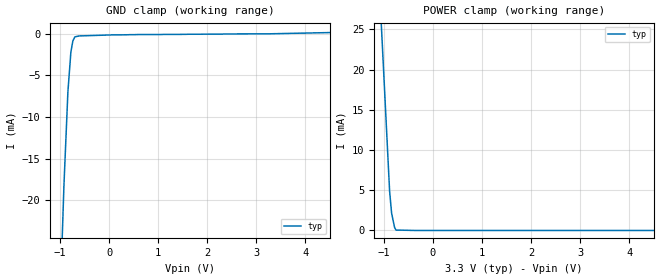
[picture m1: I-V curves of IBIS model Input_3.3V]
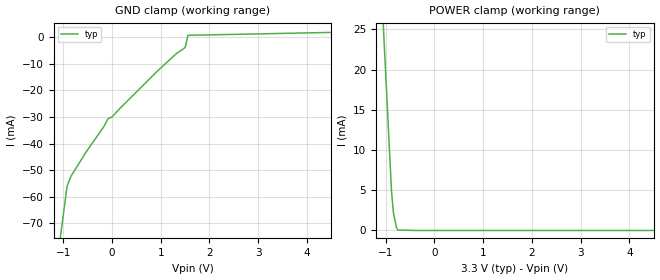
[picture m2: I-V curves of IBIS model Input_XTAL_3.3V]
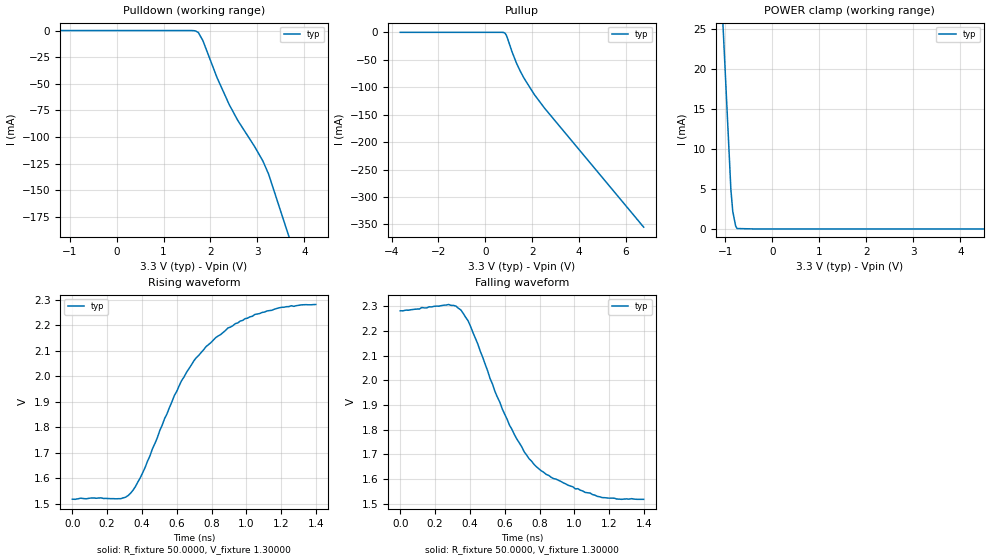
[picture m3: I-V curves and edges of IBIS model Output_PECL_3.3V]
|COPYRIGHT(C) TERASPEED CONSULTING GROUP LLC 2003 ALL
|RIGHTS RESERVED. THIS WORK CONTAINS PROPRIETARY
|INFORMATION WHICH IS THE PROPERTY OF TERASPEED
|CONSULTING GROUP LLC OR ITS LICENSORS. USE OF THESE
|MATERIALS IS SUBJECT TO THE TERMS BELOW.
|USE: TERASPEED HAS LICENSED IBIS MODELS TO
|SPECIFIC INTEGRATED CIRCUIT SUPPLIERS ("IC VENDORS")
|FOR USE AND DISTRIBUTION AS FOLLOWS: EACH IC VENDOR
|MAY USE IBIS MODELS, AND DISTRIBUTE THEM TO IC VENDOR'S
|CUSTOMERS TO USE, SOLELY FOR DEVELOPING PRINTED
|CIRCUIT BOARD DESIGNS. NO OTHER USE OR DISTRIBUTION
|OF THESE MATERIALS IS PERMITTED.
|DISCLAIMER OF WARRANTY:  UNLESS OTHERWISE AGREED
|IN WRITING, TERASPEED SOFTWARE AND ASSOCIATED
|FILES ARE PROVIDED "AS IS" AND WITHOUT WARRANTY.
|TERASPEED HAS NO OBLIGATION TO SUPPORT OR
|OTHERWISE MAINTAIN SOFTWARE.  TERASPEED MAKES
|NO WARRANTIES, EXPRESS OR IMPLIED WITH RESPECT TO
|SOFTWARE INCLUDING ANY WARRANTY OF MERCHANTABILITY
|OR FITNESS FOR A PARTICULAR PURPOSE.
|LIMITATION OF LIABILITY:  TERASPEED IS NOT LIABLE FOR
|ANY PROPERTY DAMAGE, PERSONAL INJURY, LOSS OF PROFITS,
|INTERRUPTION OF BUSINESS, OR FOR ANY OTHER SPECIAL,
|CONSEQUENTIAL OR INCIDENTAL DAMAGES, HOWEVER CAUSED,
|WHETHER FOR BREACH OF WARRANTY, CONTRACT, TORT
|(INCLUDING NEGLIGENCE), STRICT LIABILITY OR OTHERWISE. IN NO
|EVENT SHALL TERASPEED'S LIABILITY EXCEED THE AMOUNT
|PAID FOR THE PRODUCT GIVING RISE TO THE CLAIM.
|TRADEMARKS:  THE FOLLOWING ARE REGISTERED TRADEMARKS
|OR SERVICE MARKS OF TERASPEED CONSULTING GROUP LLC:
|TERASPEED CONSULTING GROUP LLC.
|ALL OTHER BRANDS AND PRODUCT NAMES ARE TRADEMARKS OF
|THEIR RESPECTIVE OWNERS
|COPIES:  ALL COPIES OF SOFTWARE, INCLUDING BUT NOT LIMITED
|TO ANY MODIFICATIONS, ENHANCEMENTS OR DERIVATIVE WORKS
|MUST CONTAIN ALL TERASPEED'S NOTICES AND LEGENDS,
|INCLUDING THOSE EMBEDDED IN SOFTWARE AND THOSE AFFIXED
|TO THE SOFTWARE MEDIUM AND CONTAINER, AS RECEIVED FROM
|TERASPEED.
[IBIS Ver]  3.2
[File Name] nbc12430fn.ibs
[File Rev]  3.0
[Source] Measured and created by Teraspeed Consulting Group LLC
[Date]   09-08-2003
[Notes]  Quality Check of this IBIS model: Model Passes IBIS Check
   Model parses into ICX IS.
[Copyright]
|COPYRIGHT(C) TERASPEED CONSULTING GROUP LLC 2003 ALL
|RIGHTS RESERVED. THIS WORK CONTAINS PROPRIETARY
|INFORMATION WHICH IS THE PROPERTY OF TERASPEED
|CONSULTING GROUP LLC OR ITS LICENSORS. USE OF THESE
|MATERIALS IS SUBJECT TO THE TERMS BELOW.
|USE: TERASPEED HAS LICENSED IBIS MODELS TO
|SPECIFIC INTEGRATED CIRCUIT SUPPLIERS ("IC VENDORS")
|FOR USE AND DISTRIBUTION AS FOLLOWS: EACH IC VENDOR
|MAY USE IBIS MODELS, AND DISTRIBUTE THEM TO IC VENDOR'S
|CUSTOMERS TO USE, SOLELY FOR DEVELOPING PRINTED
|CIRCUIT BOARD DESIGNS. NO OTHER USE OR DISTRIBUTION
|OF THESE MATERIALS IS PERMITTED.
|  Teraspeed Spectrum Model Builder
[Component] NBC12430FN
[Manufacturer] On Semiconductor
[Package]
| variable   typ   min   max
R_pkg  0.083ohms  0.083ohms  0.083ohms
L_pkg  4.299nH   4.299nH   4.299nH
C_pkg  1.045pF   1.045pF   1.045pF
[Pin] signal_name  model_name  R_pin  L_pin C_pin
1   PLL_VCC   POWER   0.08   3.94n   0.925p
2   FREF_EXT   Input_3.3V   0.082  4.14n   0.995p
3   XTAL_SEL   Input_3.3V   0.084  4.354n  1.065p
4   XTAL1   Input_XTAL_3.3V   0.086  4.583n  1.135p
5   XTAL2   Input_XTAL_3.3V   0.086  4.583n  1.135p
6   OE   Input_3.3V   0.084  4.354n  1.065p
7   _P_LOAD   Input_3.3V   0.082  4.14n   0.995p
8   M[0]   Input_3.3V   0.08   3.94n   0.925p
9   M[1]   Input_3.3V   0.082  4.14n   0.995p
10  M[2]   Input_3.3V   0.084  4.354n  1.065p
11  M[3]   Input_3.3V   0.086  4.583n  1.135p
12  M[4]   Input_3.3V   0.086  4.583n  1.135p
13  M[5]   Input_3.3V   0.084  4.354n  1.065p
14  M[6]   Input_3.3V   0.082  4.14n   0.995p
15  M[7]   Input_3.3V   0.08   3.94n   0.925p
16  M[8]   Input_3.3V   0.082  4.14n   0.995p
17  N[0]   Input_3.3V   0.084  4.354n  1.065p
18  N[1]   Input_3.3V   0.086  4.583n  1.135p
19  GND   GND   0.086  4.583n  1.135p
20  TEST   Output_PECL_3.3V   0.084  4.354n  1.065p
21  VCC   POWER   0.082  4.14n   0.995p
22  GND   GND   0.08   3.94n   0.925p
23  _FOUT   Output_PECL_3.3V   0.082  4.14n   0.995p
24  FOUT   Output_PECL_3.3V   0.084  4.354n  1.065p
25  VCC   POWER   0.086  4.583n  1.135p
26  S_CLOCK   Input_3.3V   0.086  4.583n  1.135p
27  S_DATA   Input_3.3V   0.084  4.354n  1.065p
28  S_LOAD   Input_3.3V   0.082  4.14n   0.995p
[Diff Pin] inv_pin vdiff tdelay_typ tdelay_min tdelay_max
24  23   NA  NA  NA  NA|
| Models and submodels in the file (3): Input_3.3V (Input), Input_XTAL_3.3V (Input), Output_PECL_3.3V (Output_ECL)
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[Model] Input_3.3V
Model_type Input
Vinl = 800.000mV
Vinh = 2.00000V
C_comp 1.57000pF NA  NA
| variable typ   min   max
[Voltage Range]   3.30000V  NA  NA
[POWER Clamp Reference]  3.30000V  NA  NA
[GND Clamp Reference]   0.00000V  NA  NA
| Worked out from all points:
|   GND clamp passes 1 mA (typ) near -0.74 V on its own axis
|   POWER clamp passes 1 mA (typ) near -0.80 V on its own axis
[GND Clamp]
-3.3V     -445.1mA   NA         NA
-921.4mV  -18.21mA   NA         NA
-840.7mV  -6.953mA   NA         NA
-780.2mV  -2.192mA   NA         NA
-739.7mV  -841.8uA   NA         NA
-699.3mV  -355.8uA   NA         NA
-611.9mV  -245.5uA   NA         NA
61.63mV   -120.6uA   NA         NA
3.254V    9.637uA    NA         NA
6.6V      415.1uA    NA         NA
[POWER Clamp]
-3.63V    341.5mA    NA         NA
-1.059V   26.55mA    NA         NA
-998.6mV  19.11mA    NA         NA
-882.7mV  4.908mA    NA         NA
-842.2mV  2.167mA    NA         NA
-781.5mV  376uA      NA         NA
-751.3mV  48.39uA    NA         NA
6.765V    0A         NA         NA
[Model] Input_XTAL_3.3V
Model_type Input
Vinl = 800.000mV
Vinh = 2.00000V
C_comp  1.57000pF NA  NA
| variable typ   min   max
[Voltage Range]   3.30000V  NA  NA
[POWER Clamp Reference]  3.30000V  NA  NA
[GND Clamp Reference]   0.00000V  NA  NA
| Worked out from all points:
|   POWER clamp passes 1 mA (typ) near -0.80 V on its own axis
[GND Clamp]
-3.3V     -387.8mA   NA         NA
-921.4mV  -55.98mA   NA         NA
-840.7mV  -52.24mA   NA         NA
-542.3mV  -43.49mA   NA         NA
-162.7mV  -33.51mA   NA         NA
-81.34mV  -30.65mA   NA         NA
160.9uV   -30.03mA   NA         NA
921.3mV   -12.95mA   NA         NA
1.321V    -6.201mA   NA         NA
1.503V    -3.9mA     NA         NA
1.558V    672uA      NA         NA
6.6V      2.546mA    NA         NA
[POWER Clamp]
-3.63V    341.5mA    NA         NA
-1.059V   26.55mA    NA         NA
-998.6mV  19.11mA    NA         NA
-882.7mV  4.908mA    NA         NA
-842.2mV  2.167mA    NA         NA
-781.5mV  376uA      NA         NA
-751.3mV  48.39uA    NA         NA
6.765V    0A         NA         NA
[Model] Output_PECL_3.3V
Model_type Output_ECL
Vref  = 1.30000V
Rref  = 50.0000ohms
Cref  = 2.00000pF
Vmeas = 1.65000V
C_comp   1.57000pF NA  NA
| variable typ   min   max
[Voltage Range]   3.30000V  NA  NA
[POWER Clamp Reference]  3.30000V  NA  NA
[Pullup Reference]   3.30000V  NA  NA
[Pulldown Reference]   3.30000V  NA  NA
[GND Clamp Reference]   0.00000V  NA  NA
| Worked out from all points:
|   POWER clamp passes 1 mA (typ) near -0.80 V on its own axis
|   falling waveform, R_fixture 50.0000, V_fixture 1.30000: 20-80 % time 302ps typ, NA min, NA max; typ from 2.28 V to 1.52 V
|   rising waveform, R_fixture 50.0000, V_fixture 1.30000: 20-80 % time 356ps typ, NA min, NA max; typ from 1.52 V to 2.28 V
[GND Clamp]
-3.6V     0A         NA         NA
-3.5V     0A         NA         NA
-3.465V   0A         NA         NA
7.2V      0A         NA         NA
[Pulldown]
-3.63V    4.019uA    NA         NA
1.681V    -371.4uA   NA         NA
1.742V    -1.886mA   NA         NA
1.837V    -9.318mA   NA         NA
2.141V    -44.31mA   NA         NA
2.399V    -69.49mA   NA         NA
2.581V    -84.3mA    NA         NA
3.117V    -122.5mA   NA         NA
3.238V    -134.9mA   NA         NA
3.3V      -143.2mA   NA         NA
6.435V    -567.5mA   NA         NA
6.765V    -612.1mA   NA         NA
[Pullup]
-3.63V    -21.88uA   NA         NA
679.9mV   -29.94uA   NA         NA
841.9mV   -1.607mA   NA         NA
937.5mV   -9.294mA   NA         NA
1.14V     -35.06mA   NA         NA
1.337V    -56.49mA   NA         NA
1.499V    -71.11mA   NA         NA
1.661V    -83.95mA   NA         NA
2.101V    -113.7mA   NA         NA
2.54V     -138.6mA   NA         NA
6.765V    -355.1mA   NA         NA
[POWER Clamp]
-3.63V    341.5mA    NA         NA
-1.059V   26.55mA    NA         NA
-998.6mV  19.11mA    NA         NA
-882.7mV  4.908mA    NA         NA
-842.2mV  2.167mA    NA         NA
-781.5mV  376uA      NA         NA
-751.3mV  48.39uA    NA         NA
6.765V    0A         NA         NA
[Falling Waveform]
R_fixture = 50.0000
V_fixture = 1.30000
0s        2.281V     NA         NA
278ps     2.307V     NA         NA
348ps     2.285V     NA         NA
404ps     2.218V     NA         NA
544ps     1.955V     NA         NA
628ps     1.817V     NA         NA
712ps     1.71V      NA         NA
810ps     1.633V     NA         NA
1.132ns   1.53V      NA         NA
1.398ns   1.518V     NA         NA
[Rising Waveform]
R_fixture = 50.0000
V_fixture = 1.30000
0s        1.518V     NA         NA
278ps     1.52V      NA         NA
334ps     1.541V     NA         NA
418ps     1.642V     NA         NA
628ps     1.983V     NA         NA
712ps     2.073V     NA         NA
824ps     2.152V     NA         NA
1.048ns   2.242V     NA         NA
1.202ns   2.27V      NA         NA
1.398ns   2.281V     NA         NA
[Ramp]
| variable typ min max
dV/dt_r 454.042m/354.426p   NA  NA
dV/dt_f 454.042m/297.337p   NA  NA
R_load = 50.0000Ohms
